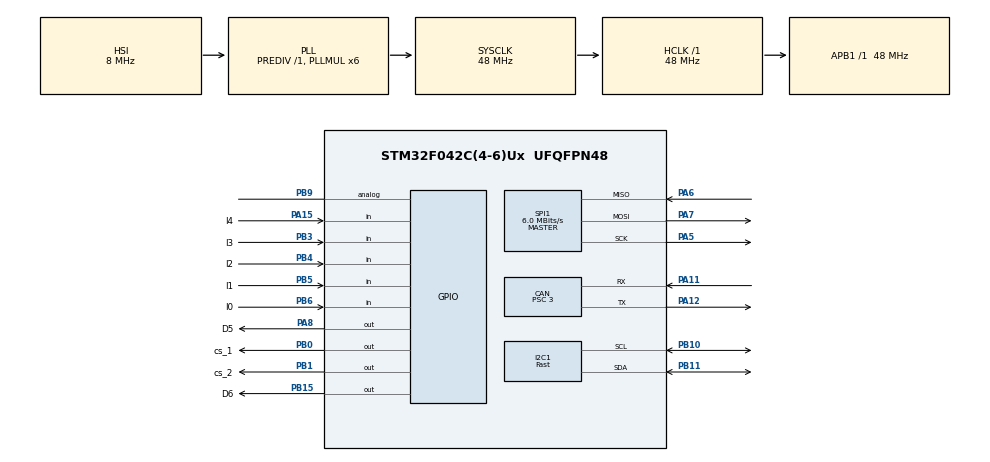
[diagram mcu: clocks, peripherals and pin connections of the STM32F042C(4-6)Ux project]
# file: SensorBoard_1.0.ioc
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CAN.BS1=CAN_BS1_16TQ
CAN.BS2=CAN_BS2_3TQ
CAN.CalculateTimeQuantum=62.5
CAN.NART=ENABLE
CAN.Prescaler=3
CAN.TXFP=ENABLE
I2C1.I2C_Speed_Mode=I2C_Fast
I2C1.Speed=400
I2C1.Timing=0x0000020B
Mcu.Family=STM32F0
Mcu.Name=STM32F042C(4-6)Ux
Mcu.Package=UFQFPN48
NVIC.TIM16_IRQn=true\:0\:0\:false\:false\:true\:true\:true
NVIC.TIM3_IRQn=true\:0\:0\:false\:false\:true\:true\:true
PA10.Signal=USART1_RX
PA11.Mode=Master
PA11.Signal=CAN_RX
PA12.Mode=Master
PA12.Signal=CAN_TX
PA13.Mode=Serial_Wire
PA13.Signal=SYS_SWDIO
PA14.Mode=Serial_Wire
PA14.Signal=SYS_SWCLK
PA15.GPIO_Label=I4
PA15.GPIO_PuPd=GPIO_PULLUP
PA15.Signal=GPIO_Input
PA5.GPIO_PuPd=GPIO_NOPULL
PA5.Mode=Full_Duplex_Master
PA5.Signal=SPI1_SCK
PA6.GPIO_PuPd=GPIO_NOPULL
PA6.Mode=Full_Duplex_Master
PA6.Signal=SPI1_MISO
PA7.GPIO_PuPd=GPIO_NOPULL
PA7.Mode=Full_Duplex_Master
PA7.Signal=SPI1_MOSI
PA8.GPIO_Label=D5
PA8.Signal=GPIO_Output
PA9.Signal=USART1_TX
PB0.GPIO_Label=cs_1
PB0.GPIO_PuPd=GPIO_PULLUP
PB0.GPIO_Speed=GPIO_SPEED_FREQ_HIGH
PB0.PinState=GPIO_PIN_SET
PB0.Signal=GPIO_Output
PB1.GPIO_Label=cs_2
PB1.GPIO_PuPd=GPIO_PULLUP
PB1.GPIO_Speed=GPIO_SPEED_FREQ_HIGH
PB1.PinState=GPIO_PIN_SET
PB1.Signal=GPIO_Output
PB10.Mode=I2C
PB10.Signal=I2C1_SCL
PB11.Mode=I2C
PB11.Signal=I2C1_SDA
PB15.GPIO_Label=D6
PB15.Signal=GPIO_Output
PB3.GPIO_Label=I3
PB3.GPIO_PuPd=GPIO_PULLUP
PB3.Signal=GPIO_Input
PB4.GPIO_Label=I2
PB4.GPIO_PuPd=GPIO_PULLUP
PB4.Signal=GPIO_Input
PB5.GPIO_Label=I1
PB5.GPIO_PuPd=GPIO_PULLUP
PB5.Signal=GPIO_Input
PB6.GPIO_Label=I0
PB6.GPIO_PuPd=GPIO_PULLUP
PB6.Signal=GPIO_Input
PB9.Signal=GPIO_Analog
PF0-OSC_IN.Mode=HSE-External-Oscillator
PF0-OSC_IN.Signal=RCC_OSC_IN
PF1-OSC_OUT.Mode=HSE-External-Oscillator
PF1-OSC_OUT.Signal=RCC_OSC_OUT
ProjectManager.HeapSize=0x200
ProjectManager.StackSize=0x400
ProjectManager.TargetToolchain=STM32CubeIDE
RCC.AHBFreq_Value=48000000
RCC.APB1Freq_Value=48000000
RCC.APB1TimFreq_Value=48000000
RCC.HCLKFreq_Value=48000000
RCC.HSE_VALUE=16000000
RCC.PLLMUL=RCC_PLL_MUL6
RCC.SYSCLKFreq_VALUE=48000000
RCC.SYSCLKSource=RCC_SYSCLKSOURCE_PLLCLK
SPI1.BaudRatePrescaler=SPI_BAUDRATEPRESCALER_8
SPI1.CLKPhase=SPI_PHASE_2EDGE
SPI1.CLKPolarity=SPI_POLARITY_HIGH
SPI1.CalculateBaudRate=6.0 MBits/s
SPI1.DataSize=SPI_DATASIZE_8BIT
SPI1.Direction=SPI_DIRECTION_2LINES
SPI1.FirstBit=SPI_FIRSTBIT_MSB
SPI1.Mode=SPI_MODE_MASTER
SPI1.VirtualType=VM_MASTER
TIM16.Period=10
TIM16.Prescaler=47999
TIM2.ClockDivision=TIM_CLOCKDIVISION_DIV1
TIM2.Period=65000
TIM2.Prescaler=47
TIM3.Period=310
TIM3.Prescaler=47
VP_TIM16_VS_ClockSourceINT.Mode=Enable_Timer
VP_TIM2_VS_ClockSourceINT.Mode=Internal
VP_TIM3_VS_ClockSourceINT.Mode=Internal
board=custom

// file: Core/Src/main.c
/* USER CODE BEGIN Header */
/**
  ******************************************************************************
  * @file           : main.c
  * @brief          : Main program body
  ******************************************************************************
  * @attention
  *
  * <h2><center>&copy; Copyright (c) 2019 STMicroelectronics.
  * All rights reserved.</center></h2>
  *
  * This software component is licensed by ST under BSD 3-Clause license,
  * the "License"; You may not use this file except in compliance with the
  * License. You may obtain a copy of the License at:
  *                        opensource.org/licenses/BSD-3-Clause
  *
  ******************************************************************************
  */
/* USER CODE END Header */

#include "main.h"

/* USER CODE BEGIN Includes */
#include "hts221_reg.h"
#include "lps22hb_reg.h"
#include "l2g2is_reg.h"
#include "iis3dhhc_reg.h"

#include <string.h>
#include <stdio.h>

/* USER CODE END Includes */

/* USER CODE BEGIN PTD */
// Accelerometer
typedef union{
  int16_t i16bit[3];
  uint8_t u8bit[6];
} axis3bit16_t;

typedef union{
  int16_t i16bit;
  uint8_t u8bit[2];
} axis1bit16_t;

// Gyroscope
typedef union{
  int16_t out_x;
  uint8_t u8_x[2];
} my_data;

// Barometer
typedef union{
  int32_t i32bit;
  uint8_t u8bit[4];
} axis1bit32_t;

typedef struct{
  int16_t x;
  int16_t y;
}Giro_Off;

typedef struct {
  float x0;
  float y0;
  float x1;
  float y1;
} lin_t;
/* USER CODE END PTD */

/* USER CODE BEGIN PD */
#define T_VALUE			5        	//NUMERO DI VOLTE CHE VIENE PROVATA LA COMUNICAZIONE CON I SENSORI
#define NO_ERR 			0x00      	//NESSUN ERRORE
#define ACC_ERR 		0x01	 	//ERRORE MODULO ACCELLEROMETRO
#define GYR_ERR 		0x02	 	//ERRORE MODULO GIROSCOPIO
#define PRE_ERR 		0x04     	//ERRORE MODULO PRESSIONE
#define HUM_ERR 		0x08	 	//ERRORE MODULO UMIDITA'
#define FIR_P 			0x00000000 	//MASCHERA PER PRIMO PACCHETTO
#define SEC_P 			0x00000100 	//MASCHERA PER SECONDO PACCHETTO
#define THI_P 			0x00000300 	//MASCHERA PER TERZO PACCHETTO
#define STD_MODE 		1		 	//MODALITA' STANDARD
#define STR_MODE 		0       	//MODALITA' AVVIO E FINE

#define CS_up_GPIO_Port GPIOB
#define CS_ACC			cs_1_Pin
#define CS_GIR			cs_2_Pin
#define TX_BUF_DIM      1000
#define START_SAMPLE 	2
/* USER CODE END PD */

CAN_HandleTypeDef hcan;

I2C_HandleTypeDef hi2c1;

SPI_HandleTypeDef hspi1;

TIM_HandleTypeDef htim2;
TIM_HandleTypeDef htim3;
TIM_HandleTypeDef htim16;

/* USER CODE BEGIN PV */
uint8_t timeStart;
uint8_t Err=0;

// Accelerometer
static axis3bit16_t data_raw_acceleration;
//static axis1bit16_t data_raw_temperature;
//static float temperature_degC;
float temperature_raw;
static uint8_t whoamI, rst;

// Gyroscope
static axis3bit16_t data_raw_angular_rate;
static axis1bit16_t data_raw_temperature;
static l2g2is_dev_status_t reg_gir;
l2g2is_off_t setOffset;

// Barometer
static axis1bit32_t data_raw_pressure;
static axis1bit16_t data_raw_temperature;

// Humidity
static axis1bit16_t data_raw_humidity;

// Control bus
//static uint8_t tx_buffer[TX_BUF_DIM];
struct{
	int16_t Acc_x;
	int16_t Acc_y;
	int16_t Acc_z;
	int16_t Gyr_x;
	int16_t Gyr_y;
	int16_t T_a;
	int16_t T_g;
	int16_t T_b;
	uint32_t Pres;
	uint16_t Hum;
	uint16_t Responce_Time_millis;
}Data[2];

uint8_t ID=0;				// ID BOARD
uint8_t IDF=0;				// ID Fake per schedulare invio pacchetti nel tempo
uint8_t flagStartData=0;	// serve ad abilitare la trasmissione dei dati non importanti
							// come la pressione e l'umidità che saranno letti solo all'inizio e alla fine
uint8_t flagStartAcc=0;		// permette di leggere prima i dati e poi inviarli
uint8_t a=0;
uint8_t read[2];
uint32_t timer;

// CAN
CAN_TxHeaderTypeDef TxHeader;
uint8_t TxData0[8];
uint32_t TxMailbox;
CAN_FilterTypeDef sFilterConfig;

// Accelerometer
stmdev_ctx_t dev_ctx_acc;
iis3dhhc_reg_t reg_acc;

// Gyroscope
stmdev_ctx_t dev_ctx_gir;

// Humidity
stmdev_ctx_t dev_ctx_hum;
hts221_reg_t reg_hum;

// Barometer
stmdev_ctx_t dev_ctx_bar;
uint8_t reg_bar;
uint8_t rst_bar;

uint16_t humidity_perc;
lin_t lin_hum;
lin_t lin_temp;
/* USER CODE END PV */

void SystemClock_Config(void);
static void MX_GPIO_Init(void);
static void MX_I2C1_Init(void);
static void MX_SPI1_Init(void);
static void MX_TIM2_Init(void);
static void MX_TIM3_Init(void);
static void MX_CAN_Init(void);
static void MX_TIM16_Init(void);

/* USER CODE BEGIN 0 */
static int32_t accelerometer_write(void *handle, uint8_t reg, uint8_t *bufp, uint16_t len);
static int32_t accelerometer_read(void *handle, uint8_t reg, uint8_t *bufp, uint16_t len);
static int32_t gyroscope_write(void *handle, uint8_t reg, uint8_t *bufp, uint16_t len);
static int32_t gyroscope_read(void *handle, uint8_t reg, uint8_t *bufp, uint16_t len);
static int32_t barometer_write(void *handle, uint8_t reg, uint8_t *bufp, uint16_t len);
static int32_t barometer_read(void *handle, uint8_t reg, uint8_t *bufp, uint16_t len);
static int32_t humidity_write(void *handle, uint8_t reg, uint8_t *bufp, uint16_t len);
static int32_t humidity_read(void *handle, uint8_t reg, uint8_t *bufp, uint16_t len);
void get_data(void);
uint8_t make_giro_offset(stmdev_ctx_t *ctx,Giro_Off *giro);
void CAN_Config(void);

float linear_interpolation(lin_t *lin, int16_t x)
{
 return ((lin->y1 - lin->y0) * x +  ((lin->x1 * lin->y0) - (lin->x0 * lin->y1)))
        / (lin->x1 - lin->x0);
}
/* USER CODE END 0 */

int main(void)
{
  /* USER CODE BEGIN 1 */
	/*Check device ID*/

  /* USER CODE END 1 */

  /* MCU Configuration--------------------------------------------------------*/

  /* Reset of all peripherals, Initializes the Flash interface and the Systick. */
  HAL_Init();

  /* Configure the system clock */
  SystemClock_Config();

  /* Initialize all configured peripherals */
  MX_GPIO_Init();
  MX_I2C1_Init();
  MX_SPI1_Init();
  MX_TIM2_Init();
  MX_TIM3_Init();
  MX_CAN_Init();
  MX_TIM16_Init();
  /* USER CODE BEGIN 2 */
  CAN_Config();
  HAL_CAN_Start(&hcan);

  HAL_Delay(100);

	//RICONOSCIMENTO ID TRAMITE PONTICELLO
	if(HAL_GPIO_ReadPin(GPIOB,I0_Pin)){ID=ID|0x01;}
	if(HAL_GPIO_ReadPin(GPIOB,I1_Pin)){ID=ID|0x02;}
	if(HAL_GPIO_ReadPin(GPIOB,I2_Pin)){ID=ID|0x04;}
	if(HAL_GPIO_ReadPin(GPIOB,I3_Pin)){ID=ID|0x08;}
	if(HAL_GPIO_ReadPin(GPIOA,I4_Pin)){ID=ID|0x10;}
	//OGNI ID VIENE TRASFORMATO IN UN RANGE DA 0 A 9 E SERVIRA' PER TEMPORIZARE L'INVIO
	if(ID>9)IDF=ID-10;
	if(ID>19)IDF=ID-20;
	ID=0;
	//htim1.Init.Period = 1200+IDF*350;
	//htim1.Init.Period=200;
	//TRASMISSIONE SPI DISABILITATA
	HAL_GPIO_WritePin(GPIOB, cs_1_Pin, GPIO_PIN_SET);
	HAL_GPIO_WritePin(GPIOB, cs_2_Pin, GPIO_PIN_SET);
	HAL_Delay(1);

	//DEFINIZIONE DEI DEVICE
	// Accelerometer
	dev_ctx_acc.write_reg = accelerometer_write;
	dev_ctx_acc.read_reg = accelerometer_read;
	dev_ctx_acc.handle = &hspi1;
	// Gyroscope
	dev_ctx_gir.write_reg = gyroscope_write;
	dev_ctx_gir.read_reg = gyroscope_read;
	dev_ctx_gir.handle = &hspi1;
	// Humidity
	dev_ctx_hum.write_reg = humidity_write;
	dev_ctx_hum.read_reg = humidity_read;
	dev_ctx_hum.handle = &hi2c1;
	// Barometer
	dev_ctx_bar.write_reg = barometer_write;
	dev_ctx_bar.read_reg = barometer_read;
	dev_ctx_bar.handle = &hi2c1;

	//INIZIALIZZAZIONE ACCELEROMETRO E VERIFICA DELLA CONNESSIONE AL BUS
	whoamI = 0;
	timeStart=STR_MODE;//ATTIVO START PACCHETTI PRESSIONE E UMIDITA'
	iis3dhhc_device_id_get(&dev_ctx_acc, &whoamI);
	while(timeStart>T_VALUE){// CONTROLLO SE E' POSSIBILE LA COMUNICAZIONE CON IL SENSORE
		if(whoamI != IIS3DHHC_ID){
			break;
		}
	}
    if(timeStart>T_VALUE){
    	Err=Err|ACC_ERR;
    }
	iis3dhhc_reset_set(&dev_ctx_acc, PROPERTY_ENABLE);//RIPRISTINO SETTAGGI DEFAULT
	do{
	  iis3dhhc_reset_get(&dev_ctx_acc, &rst);
	}while (rst);
	iis3dhhc_block_data_update_set(&dev_ctx_acc, PROPERTY_ENABLE);//ABLITAZIONE DATAUPDATE
	iis3dhhc_data_rate_set(&dev_ctx_acc, IIS3DHHC_1kHz1);//SETTAGGIO FREQUENZA DI CAMPIONAMENTO
	iis3dhhc_filter_config_set(&dev_ctx_acc,3);//SETTAGGIO FILTRO FFR A 235HZ
	iis3dhhc_offset_temp_comp_set(&dev_ctx_acc, PROPERTY_ENABLE);//ABLITIAZIONE COMPENSAZIONE TEMPERATURA
	/*uint8_t speed= 0x01;
	uint8_t add=0x24|0x80;
	HAL_GPIO_WritePin(CS_up_GPIO_Port, CS_ACC, GPIO_PIN_RESET);
	HAL_SPI_Transmit(&hspi1, &add, 1, 10);
	if(HAL_SPI_Receive(&hspi1, &read[0], 1, 10)==HAL_OK)a=1;
	HAL_GPIO_WritePin(CS_up_GPIO_Port, CS_ACC, GPIO_PIN_SET);
	add=0x24;
	HAL_GPIO_WritePin(CS_up_GPIO_Port, CS_ACC, GPIO_PIN_RESET);
	HAL_SPI_Transmit(&hspi1, &add, 1, 10);
	HAL_SPI_Transmit(&hspi1, &speed, 1, 10);
	HAL_GPIO_WritePin(CS_up_GPIO_Port, CS_ACC, GPIO_PIN_SET);
	add=0x24|0x80;
	HAL_GPIO_WritePin(CS_up_GPIO_Port, CS_ACC, GPIO_PIN_RESET);
	HAL_SPI_Transmit(&hspi1, &add, 1, 10);
	if(HAL_SPI_Receive(&hspi1, &read[1], 1, 10)==HAL_OK)a=1;
	HAL_GPIO_WritePin(CS_up_GPIO_Port, CS_ACC, GPIO_PIN_SET);*/

	// INIZIALIZZAZIONE GIROSCOPIO E VERIFICA DELLA CONNESSIONE AL BUS
	timeStart=0;
	l2g2is_dev_id_get(&dev_ctx_gir, &whoamI);
	while(timeStart>T_VALUE){
		if(whoamI == L2G2IS_ID){							// CONTROLLO SE E' POSSIBILE LA COMUNICAZIONE CON IL SENSORE
			break;
		}
	}
	if(timeStart>T_VALUE){
	    Err=Err|GYR_ERR;
	}
	l2g2is_dev_reset_set(&dev_ctx_gir, PROPERTY_ENABLE);	// RIPRISTINO SETTAGGI DEFAULT
	do{
		l2g2is_dev_reset_get(&dev_ctx_gir, &rst);
	}while (rst);
	l2g2is_gy_full_scale_set(&dev_ctx_gir, L2G2IS_200dps);	// SETTAGGIO SCALA DI MISURA -200DPS +200DPS
    //l2g2is_gy_filter_lp_bandwidth_set(&dev_ctx, L2G2IS_LPF_BW_160Hz);//SETTAGGIO FILTRO PASSA BASSO
	//l2g2is_gy_filter_hp_bandwidth_set(&dev_ctx, L2G2IS_HPF_BYPASS);//SETTAGGIO FILTRO PASSA ALTO
	setOffset.offx = 0x00;		//SETTAGGIO OFFSET ASSE X
	setOffset.offy = 0x00;		// SETTAGGIO OFFSET ASSE Y
	l2g2is_angular_rate_offset_set(&dev_ctx_gir, setOffset);//SETTAGGIO OFFSET ANGULAR RATE
	l2g2is_gy_data_rate_set(&dev_ctx_gir, L2G2IS_GY_9k33Hz);//SETTAGGIO FREQUENZA DI CAMPIONAMENTO DEL SENSORE
    //Data.Responce_Time_millis=make_giro_offset(&dev_ctx_gir,&giro); OFFSET NON FUNZIONANTE

	// INIZIALIZZAZIONE BAROMETRO E VERIFICA DELLA CONNESSIONE AL BUS
	whoamI=0;
	timeStart=0;
	lps22hb_device_id_get(&dev_ctx_bar,&whoamI);
    while(timeStart>T_VALUE){
		if( whoamI == LPS22HB_ID ){					// CONTROLLO SE E' POSSIBILE LA COMUNICAZIONE CON IL SENSORE
			break;
		}
	}
	if(timeStart>T_VALUE){
		Err=Err|PRE_ERR;
	}
	lps22hb_reset_set(&dev_ctx_bar, PROPERTY_ENABLE);// RIPRISTINO SETTAGGI DEFAULT
	do{
		lps22hb_reset_get(&dev_ctx_bar, &rst_bar);
	} while(rst_bar);
	//lps22hb_block_data_update_set(&dev_ctx, PROPERTY_ENABLE);//ABLITAZIONE DATAUPDATE
	lps22hb_low_pass_filter_mode_set(&dev_ctx_bar, LPS22HB_LPF_ODR_DIV_2);//SETTAGGIO LOW PASS FILTER
	//lps22hb_drdy_on_int_set(&dev_ctx, PROPERTY_ENABLE);//INTERRUPT FOR DATA READY INT_DRDY
	lps22hb_data_rate_set(&dev_ctx_bar, LPS22HB_ODR_10_Hz);//SETTAGGIO FREQUENZA DI CAMPIONAMENTO DEL SENSORE

	// INIZIALIZZAZIONE SENSORE DI UMIDITA' E VERIFICA DELLA CONNESSIONE AL BUS
	whoamI = 0;
	timeStart=0;
	hts221_device_id_get(&dev_ctx_hum, &whoamI);
	while(timeStart>T_VALUE){
		if ( whoamI == HTS221_ID ){		// CONTROLLO SE E' POSSIBILE LA COMUNICAZIONE CON IL SENSORE
			break;
		}
	}
	if(timeStart>T_VALUE){
		Err=Err|HUM_ERR;
	}

	// Humidity sensor calibration coefficient
	axis1bit16_t coeff;
	hts221_hum_adc_point_0_get(&dev_ctx_hum, coeff.u8bit);
	lin_hum.x0 = (float)coeff.i16bit;
	hts221_hum_rh_point_0_get(&dev_ctx_hum, coeff.u8bit);
	lin_hum.y0 = (float)coeff.u8bit[0];
	hts221_hum_adc_point_1_get(&dev_ctx_hum, coeff.u8bit);
	lin_hum.x1 = (float)coeff.i16bit;
	hts221_hum_rh_point_1_get(&dev_ctx_hum, coeff.u8bit);
	lin_hum.y1 = (float)coeff.u8bit[0];

	/* Read temperature calibration coefficient */
	/*
	hts221_temp_adc_point_0_get(&dev_ctx_hum, coeff.u8bit);
	lin_temp.x0 = (float)coeff.i16bit;
	hts221_temp_deg_point_0_get(&dev_ctx_hum, coeff.u8bit);
	lin_temp.y0 = (float)coeff.u8bit[0];
	hts221_temp_adc_point_1_get(&dev_ctx_hum, coeff.u8bit);
	lin_temp.x1 = (float)coeff.i16bit;
	hts221_temp_deg_point_1_get(&dev_ctx_hum, coeff.u8bit);
	lin_temp.y1 = (float)coeff.u8bit[0];*/

	hts221_block_data_update_set(&dev_ctx_hum, PROPERTY_ENABLE);	//ABLITAZIONE DATAUPDATE
	hts221_data_rate_set(&dev_ctx_hum, HTS221_ODR_1Hz);				//SETTAGGIO DATARATE
	hts221_power_on_set(&dev_ctx_hum, PROPERTY_ENABLE);				//ACCENSIONE INVIO DATI DISPOSITIVO

	//HAL_TIM_Base_Start_IT(&htim2);
	HAL_TIM_Base_Start_IT(&htim3);									//AVVIO DEL TIMER 3 E CONSEGUENTE AVVIO DEL PROGRAMMA
	HAL_TIM_Base_Start_IT(&htim16);									//AVVIO DEL TIMER 16 PER INVIO DATI PRESSIONE E UMIDITA'
	//int i=0;
  /* USER CODE END 2 */

  /* Infinite loop */
  while (1)
  {

  }
}

void SystemClock_Config(void)
{
  RCC_OscInitTypeDef RCC_OscInitStruct = {0};
  RCC_ClkInitTypeDef RCC_ClkInitStruct = {0};
  RCC_PeriphCLKInitTypeDef PeriphClkInit = {0};

  /** Initializes the CPU, AHB and APB busses clocks
  */
  RCC_OscInitStruct.OscillatorType = RCC_OSCILLATORTYPE_HSI;
  RCC_OscInitStruct.HSIState = RCC_HSI_ON;
  RCC_OscInitStruct.HSICalibrationValue = RCC_HSICALIBRATION_DEFAULT;
  RCC_OscInitStruct.PLL.PLLState = RCC_PLL_ON;
  RCC_OscInitStruct.PLL.PLLSource = RCC_PLLSOURCE_HSI;
  RCC_OscInitStruct.PLL.PLLMUL = RCC_PLL_MUL6;
  RCC_OscInitStruct.PLL.PREDIV = RCC_PREDIV_DIV1;
  if (HAL_RCC_OscConfig(&RCC_OscInitStruct) != HAL_OK)
  {
    Error_Handler();
  }
  /** Initializes the CPU, AHB and APB busses clocks
  */
  RCC_ClkInitStruct.ClockType = RCC_CLOCKTYPE_HCLK|RCC_CLOCKTYPE_SYSCLK
                              |RCC_CLOCKTYPE_PCLK1;
  RCC_ClkInitStruct.SYSCLKSource = RCC_SYSCLKSOURCE_PLLCLK;
  RCC_ClkInitStruct.AHBCLKDivider = RCC_SYSCLK_DIV1;
  RCC_ClkInitStruct.APB1CLKDivider = RCC_HCLK_DIV1;

  if (HAL_RCC_ClockConfig(&RCC_ClkInitStruct, FLASH_LATENCY_1) != HAL_OK)
  {
    Error_Handler();
  }
  PeriphClkInit.PeriphClockSelection = RCC_PERIPHCLK_I2C1;
  PeriphClkInit.I2c1ClockSelection = RCC_I2C1CLKSOURCE_HSI;
  if (HAL_RCCEx_PeriphCLKConfig(&PeriphClkInit) != HAL_OK)
  {
    Error_Handler();
  }
}

static void MX_CAN_Init(void)
{

  hcan.Instance = CAN;
  hcan.Init.Prescaler = 3;
  hcan.Init.Mode = CAN_MODE_NORMAL;
  hcan.Init.SyncJumpWidth = CAN_SJW_1TQ;
  hcan.Init.TimeSeg1 = CAN_BS1_16TQ;
  hcan.Init.TimeSeg2 = CAN_BS2_3TQ;
  hcan.Init.TimeTriggeredMode = DISABLE;
  hcan.Init.AutoBusOff = DISABLE;
  hcan.Init.AutoWakeUp = DISABLE;
  hcan.Init.AutoRetransmission = ENABLE;
  hcan.Init.ReceiveFifoLocked = DISABLE;
  hcan.Init.TransmitFifoPriority = ENABLE;
  if (HAL_CAN_Init(&hcan) != HAL_OK)
  {
    Error_Handler();
  }

}

static void MX_I2C1_Init(void)
{

  hi2c1.Instance = I2C1;
  hi2c1.Init.Timing = 0x0000020B;
  hi2c1.Init.OwnAddress1 = 0;
  hi2c1.Init.AddressingMode = I2C_ADDRESSINGMODE_7BIT;
  hi2c1.Init.DualAddressMode = I2C_DUALADDRESS_DISABLE;
  hi2c1.Init.OwnAddress2 = 0;
  hi2c1.Init.OwnAddress2Masks = I2C_OA2_NOMASK;
  hi2c1.Init.GeneralCallMode = I2C_GENERALCALL_DISABLE;
  hi2c1.Init.NoStretchMode = I2C_NOSTRETCH_DISABLE;
  if (HAL_I2C_Init(&hi2c1) != HAL_OK)
  {
    Error_Handler();
  }
  /** Configure Analogue filter
  */
  if (HAL_I2CEx_ConfigAnalogFilter(&hi2c1, I2C_ANALOGFILTER_ENABLE) != HAL_OK)
  {
    Error_Handler();
  }
  /** Configure Digital filter
  */
  if (HAL_I2CEx_ConfigDigitalFilter(&hi2c1, 0) != HAL_OK)
  {
    Error_Handler();
  }

}

static void MX_SPI1_Init(void)
{

  /* SPI1 parameter configuration*/
  hspi1.Instance = SPI1;
  hspi1.Init.Mode = SPI_MODE_MASTER;
  hspi1.Init.Direction = SPI_DIRECTION_2LINES;
  hspi1.Init.DataSize = SPI_DATASIZE_8BIT;
  hspi1.Init.CLKPolarity = SPI_POLARITY_HIGH;
  hspi1.Init.CLKPhase = SPI_PHASE_2EDGE;
  hspi1.Init.NSS = SPI_NSS_SOFT;
  hspi1.Init.BaudRatePrescaler = SPI_BAUDRATEPRESCALER_8;
  hspi1.Init.FirstBit = SPI_FIRSTBIT_MSB;
  hspi1.Init.TIMode = SPI_TIMODE_DISABLE;
  hspi1.Init.CRCCalculation = SPI_CRCCALCULATION_DISABLE;
  hspi1.Init.CRCPolynomial = 7;
  hspi1.Init.CRCLength = SPI_CRC_LENGTH_DATASIZE;
  hspi1.Init.NSSPMode = SPI_NSS_PULSE_DISABLE;
  if (HAL_SPI_Init(&hspi1) != HAL_OK)
  {
    Error_Handler();
  }

}

static void MX_TIM2_Init(void)
{

  TIM_ClockConfigTypeDef sClockSourceConfig = {0};
  TIM_MasterConfigTypeDef sMasterConfig = {0};

  htim2.Instance = TIM2;
  htim2.Init.Prescaler = 47;
  htim2.Init.CounterMode = TIM_COUNTERMODE_UP;
  htim2.Init.Period = 65000;
  htim2.Init.ClockDivision = TIM_CLOCKDIVISION_DIV1;
  htim2.Init.AutoReloadPreload = TIM_AUTORELOAD_PRELOAD_DISABLE;
  if (HAL_TIM_Base_Init(&htim2) != HAL_OK)
  {
    Error_Handler();
  }
  sClockSourceConfig.ClockSource = TIM_CLOCKSOURCE_INTERNAL;
  if (HAL_TIM_ConfigClockSource(&htim2, &sClockSourceConfig) != HAL_OK)
  {
    Error_Handler();
  }
  sMasterConfig.MasterOutputTrigger = TIM_TRGO_RESET;
  sMasterConfig.MasterSlaveMode = TIM_MASTERSLAVEMODE_DISABLE;
  if (HAL_TIMEx_MasterConfigSynchronization(&htim2, &sMasterConfig) != HAL_OK)
  {
    Error_Handler();
  }

}

static void MX_TIM3_Init(void)
{

  TIM_ClockConfigTypeDef sClockSourceConfig = {0};
  TIM_MasterConfigTypeDef sMasterConfig = {0};

  htim3.Instance = TIM3;
  htim3.Init.Prescaler = 47;
  htim3.Init.CounterMode = TIM_COUNTERMODE_UP;
  htim3.Init.Period = 310;
  htim3.Init.ClockDivision = TIM_CLOCKDIVISION_DIV1;
  htim3.Init.AutoReloadPreload = TIM_AUTORELOAD_PRELOAD_DISABLE;
  if (HAL_TIM_Base_Init(&htim3) != HAL_OK)
  {
    Error_Handler();
  }
  sClockSourceConfig.ClockSource = TIM_CLOCKSOURCE_INTERNAL;
  if (HAL_TIM_ConfigClockSource(&htim3, &sClockSourceConfig) != HAL_OK)
  {
    Error_Handler();
  }
  sMasterConfig.MasterOutputTrigger = TIM_TRGO_RESET;
  sMasterConfig.MasterSlaveMode = TIM_MASTERSLAVEMODE_DISABLE;
  if (HAL_TIMEx_MasterConfigSynchronization(&htim3, &sMasterConfig) != HAL_OK)
  {
    Error_Handler();
  }

}

static void MX_TIM16_Init(void)
{

  htim16.Instance = TIM16;
  htim16.Init.Prescaler = 47999;
  htim16.Init.CounterMode = TIM_COUNTERMODE_UP;
  htim16.Init.Period = 10;
  htim16.Init.ClockDivision = TIM_CLOCKDIVISION_DIV1;
  htim16.Init.RepetitionCounter = 0;
  htim16.Init.AutoReloadPreload = TIM_AUTORELOAD_PRELOAD_DISABLE;
  if (HAL_TIM_Base_Init(&htim16) != HAL_OK)
  {
    Error_Handler();
  }

}

static void MX_GPIO_Init(void)
{
  GPIO_InitTypeDef GPIO_InitStruct = {0};

  /* GPIO Ports Clock Enable */
  __HAL_RCC_GPIOF_CLK_ENABLE();
  __HAL_RCC_GPIOA_CLK_ENABLE();
  __HAL_RCC_GPIOB_CLK_ENABLE();

  /*Configure GPIO pin Output Level */
  HAL_GPIO_WritePin(GPIOB, cs_1_Pin|cs_2_Pin, GPIO_PIN_SET);

  /*Configure GPIO pin Output Level */
  HAL_GPIO_WritePin(D6_GPIO_Port, D6_Pin, GPIO_PIN_RESET);

  /*Configure GPIO pin Output Level */
  HAL_GPIO_WritePin(D5_GPIO_Port, D5_Pin, GPIO_PIN_RESET);

  /*Configure GPIO pins : cs_1_Pin cs_2_Pin */
  GPIO_InitStruct.Pin = cs_1_Pin|cs_2_Pin;
  GPIO_InitStruct.Mode = GPIO_MODE_OUTPUT_PP;
  GPIO_InitStruct.Pull = GPIO_PULLUP;
  GPIO_InitStruct.Speed = GPIO_SPEED_FREQ_HIGH;
  HAL_GPIO_Init(GPIOB, &GPIO_InitStruct);

  /*Configure GPIO pin : D6_Pin */
  GPIO_InitStruct.Pin = D6_Pin;
  GPIO_InitStruct.Mode = GPIO_MODE_OUTPUT_PP;
  GPIO_InitStruct.Pull = GPIO_NOPULL;
  GPIO_InitStruct.Speed = GPIO_SPEED_FREQ_LOW;
  HAL_GPIO_Init(D6_GPIO_Port, &GPIO_InitStruct);

  /*Configure GPIO pin : D5_Pin */
  GPIO_InitStruct.Pin = D5_Pin;
  GPIO_InitStruct.Mode = GPIO_MODE_OUTPUT_PP;
  GPIO_InitStruct.Pull = GPIO_NOPULL;
  GPIO_InitStruct.Speed = GPIO_SPEED_FREQ_LOW;
  HAL_GPIO_Init(D5_GPIO_Port, &GPIO_InitStruct);

  /*Configure GPIO pins : PA9 PA10 */
  GPIO_InitStruct.Pin = GPIO_PIN_9|GPIO_PIN_10;
  GPIO_InitStruct.Mode = GPIO_MODE_AF_PP;
  GPIO_InitStruct.Pull = GPIO_NOPULL;
  GPIO_InitStruct.Speed = GPIO_SPEED_FREQ_HIGH;
  GPIO_InitStruct.Alternate = GPIO_AF1_USART1;
  HAL_GPIO_Init(GPIOA, &GPIO_InitStruct);

  /*Configure GPIO pin : I4_Pin */
  GPIO_InitStruct.Pin = I4_Pin;
  GPIO_InitStruct.Mode = GPIO_MODE_INPUT;
  GPIO_InitStruct.Pull = GPIO_PULLUP;
  HAL_GPIO_Init(I4_GPIO_Port, &GPIO_InitStruct);

  /*Configure GPIO pins : I3_Pin I2_Pin I1_Pin I0_Pin */
  GPIO_InitStruct.Pin = I3_Pin|I2_Pin|I1_Pin|I0_Pin;
  GPIO_InitStruct.Mode = GPIO_MODE_INPUT;
  GPIO_InitStruct.Pull = GPIO_PULLUP;
  HAL_GPIO_Init(GPIOB, &GPIO_InitStruct);

  /*Configure GPIO pin : PB9 */
  GPIO_InitStruct.Pin = GPIO_PIN_9;
  GPIO_InitStruct.Mode = GPIO_MODE_ANALOG;
  GPIO_InitStruct.Pull = GPIO_NOPULL;
  HAL_GPIO_Init(GPIOB, &GPIO_InitStruct);

}

/* USER CODE BEGIN 4 */
static int32_t accelerometer_write(void *handle, uint8_t reg, uint8_t *bufp, uint16_t len){
	HAL_GPIO_WritePin(CS_up_GPIO_Port, CS_ACC, GPIO_PIN_RESET);
	HAL_SPI_Transmit(handle, &reg, 1, 10);
	HAL_SPI_Transmit(handle, bufp, len, 10);
	HAL_GPIO_WritePin(CS_up_GPIO_Port, CS_ACC, GPIO_PIN_SET);
	return 0;
}

static int32_t accelerometer_read(void *handle, uint8_t reg, uint8_t *bufp, uint16_t len){
	/* Read command */
	reg |= 0x80;
    HAL_GPIO_WritePin(CS_up_GPIO_Port, CS_ACC, GPIO_PIN_RESET);
    HAL_SPI_Transmit(handle, &reg, 1, 10);
    HAL_SPI_Receive(handle, bufp, len, 10);
    HAL_GPIO_WritePin(CS_up_GPIO_Port, CS_ACC, GPIO_PIN_SET);
    return 0;
}

static int32_t gyroscope_write(void *handle, uint8_t reg, uint8_t *bufp, uint16_t len){
	if(len>1) reg |= 0x40;
	HAL_GPIO_WritePin(CS_up_GPIO_Port, CS_GIR, GPIO_PIN_RESET);
	HAL_SPI_Transmit(handle, &reg, 1, 10);
	HAL_SPI_Transmit(handle, bufp, len, 10);
	HAL_GPIO_WritePin(CS_up_GPIO_Port, CS_GIR, GPIO_PIN_SET);
	return 0;
}

static int32_t gyroscope_read(void *handle, uint8_t reg, uint8_t *bufp, uint16_t len){
	/* Read command */
	reg |= 0x80;
	if(len>1) reg |= 0xC0;
    HAL_GPIO_WritePin(CS_up_GPIO_Port, CS_GIR, GPIO_PIN_RESET);
    HAL_SPI_Transmit(handle, &reg, 1, 10);
    HAL_SPI_Receive(handle, bufp, len, 10);
    HAL_GPIO_WritePin(CS_up_GPIO_Port, CS_GIR, GPIO_PIN_SET);
    return 0;
}

static int32_t barometer_write(void *handle, uint8_t reg, uint8_t *bufp, uint16_t len){
  if (handle == &hi2c1){
    HAL_I2C_Mem_Write(handle, LPS22HB_I2C_ADD_H, reg, I2C_MEMADD_SIZE_8BIT, bufp, len, 100);
  }
  return 0;
}

static int32_t barometer_read(void *handle, uint8_t reg, uint8_t *bufp, uint16_t len){
  if (handle == &hi2c1){
    HAL_I2C_Mem_Read(handle, LPS22HB_I2C_ADD_H, reg, I2C_MEMADD_SIZE_8BIT, bufp, len, 100);
  }
  return 0;
}

static int32_t humidity_write(void *handle, uint8_t reg, uint8_t *bufp, uint16_t len){
  if (handle == &hi2c1){
    /* Write multiple command */
    reg |= 0x80;
    HAL_I2C_Mem_Write(handle, HTS221_I2C_ADDRESS, reg, I2C_MEMADD_SIZE_8BIT, bufp, len, 100);
  }
  return 0;
}

static int32_t humidity_read(void *handle, uint8_t reg, uint8_t *bufp, uint16_t len){
  if (handle == &hi2c1){
    /* Read multiple command */
    reg |= 0x80;
    HAL_I2C_Mem_Read(handle, HTS221_I2C_ADDRESS, reg, I2C_MEMADD_SIZE_8BIT, bufp, len, 100);
  }
  return 0;
}

uint8_t make_giro_offset(stmdev_ctx_t *ctx,Giro_Off *giro){
	l2g2is_dev_status_t reg_gir;

	l2g2is_dev_status_get(ctx, &reg_gir);
	for(int i=0;i<16;i++){
		if(reg_gir.xyda){
			/* Read gyro data */
			memset(data_raw_angular_rate.u8bit, 0x00, 2 * sizeof(int16_t));

			l2g2is_angular_rate_raw_get(ctx, data_raw_angular_rate.u8bit);

			giro->x=data_raw_angular_rate.i16bit[0]+giro->x;
			giro->y=data_raw_angular_rate.i16bit[1]+giro->y;
			HAL_Delay(1);
		}
		else return 1;
	}
	giro->x=giro->x/16;
	giro->y=giro->y/16;
	return 0;
}

void HAL_TIM_PeriodElapsedCallback(TIM_HandleTypeDef *htim)
{
    if (htim->Instance==TIM16){ 		// check if the interrupt comes from TIM16
    	HAL_TIM_Base_Stop_IT(&htim16);
    	flagStartData = STD_MODE;
	}
    if (htim->Instance==TIM3){ 			// check if the interrupt comes from TIM3
		TIM1->CNT=0;
		if(ID>10){
			ID=0;
			timer++;
		}

		ID++;
		TxHeader.StdId = (ID)|FIR_P;
		TxData0[0]=(int8_t)(timer  & 0x000000FF);
		TxData0[1]=(int8_t)((timer & 0x0000FF00)>>8);
		TxData0[2]=(int8_t)((timer & 0x00FF0000)>>16);
		TxData0[3]=(int8_t)(Data[0].Gyr_x & 0x00FF);
		TxData0[4]=(int8_t)((Data[0].Gyr_x & 0xFF00 )>> 8);
		TxData0[5]=(int8_t)(Data[0].Gyr_y  & 0x00FF);
		TxData0[6]=(int8_t)((Data[0].Gyr_y & 0xFF00 )>> 8);
		TxData0[7]=Err;
		HAL_CAN_AddTxMessage(&hcan,&TxHeader,TxData0,&TxMailbox);// INVIO PRIMO MESSAGGIO

		TxHeader.StdId = (ID)|SEC_P;
		TxData0[0]=(int8_t)(Data[0].Acc_x & 0x00FF);
		TxData0[1]=(int8_t)((Data[0].Acc_x & 0xFF00 )>> 8);
		TxData0[2]=(int8_t)(Data[0].Acc_y & 0x00FF);
		TxData0[3]=(int8_t)((Data[0].Acc_y & 0xFF00 )>> 8);
		TxData0[4]=(int8_t)(Data[0].Acc_z & 0x00FF);
		TxData0[5]=(int8_t)((Data[0].Acc_z & 0xFF00 )>> 8);
		TxData0[6]=(int8_t)(Data[0].T_b & 0x00FF);
		TxData0[7]=(int8_t)((Data[0].T_b & 0xFF00 )>> 8);
		HAL_CAN_AddTxMessage(&hcan,&TxHeader,TxData0,&TxMailbox);// INVIO SECONDO MESSAGGIO

		//get_data();
	}
    if (htim->Instance==TIM1){
    	//HAL_TIM_Base_Stop_IT(&htim1);// check if the interrupt comes from TIM1
    	//HAL_GPIO_WritePin(D6_GPIO_Port, D6_Pin, GPIO_PIN_SET);
    	//timer++;						// TIMER INVIO PACCHETTI TICKER
    	//Data[0].Responce_Time_millis=TIM2->CNT;
    	/*
    	 * ID definition
    	 *    ---- If 1 third packet
    	 *   |  -- If 1 second packet
    	 *   | |       ID
    	 *   | | _______________
    	 * -|-|-|x|x|x|x|x|x|x|x|
    	 *   9 8 7 6 5 4 3 2 1 0
    	 */
    	switch (flagStartData){
			case STD_MODE:
			{
				//HAL_TIM_Base_Stop(&htim1);
				TxHeader.StdId = (ID)|FIR_P;
				TxData0[0]=(int8_t)(timer  & 0x000000FF);
				TxData0[1]=(int8_t)((timer & 0x0000FF00)>>8);
				TxData0[2]=(int8_t)((timer & 0x00FF0000)>>16);
				TxData0[3]=(int8_t)(Data[0].Gyr_x & 0x00FF);
				TxData0[4]=(int8_t)((Data[0].Gyr_x & 0xFF00 )>> 8);
				TxData0[5]=(int8_t)(Data[0].Gyr_y  & 0x00FF);
				TxData0[6]=(int8_t)((Data[0].Gyr_y & 0xFF00 )>> 8);
				TxData0[7]=Err;
				HAL_CAN_AddTxMessage(&hcan,&TxHeader,TxData0,&TxMailbox);// INVIO PRIMO MESSAGGIO

				TxHeader.StdId = (ID)|SEC_P;
				TxData0[0]=(int8_t)(Data[0].Acc_x & 0x00FF);
				TxData0[1]=(int8_t)((Data[0].Acc_x & 0xFF00 )>> 8);
				TxData0[2]=(int8_t)(Data[0].Acc_y & 0x00FF);
				TxData0[3]=(int8_t)((Data[0].Acc_y & 0xFF00 )>> 8);
				TxData0[4]=(int8_t)(Data[0].Acc_z & 0x00FF);
				TxData0[5]=(int8_t)((Data[0].Acc_z & 0xFF00 )>> 8);
				TxData0[6]=(int8_t)(Data[0].T_b & 0x00FF);
				TxData0[7]=(int8_t)((Data[0].T_b & 0xFF00 )>> 8);
				HAL_CAN_AddTxMessage(&hcan,&TxHeader,TxData0,&TxMailbox);// INVIO SECONDO MESSAGGIO
				break;
			}
			case STR_MODE:
			{
				TxHeader.StdId = (ID)|THI_P;
				TxData0[0]=(int8_t)(Data[0].Pres  & 0x000000FF);
				TxData0[1]=(int8_t)((Data[0].Pres & 0x0000FF00)>>8);
				TxData0[2]=(int8_t)((Data[0].Pres & 0x00FF0000)>>16);
				TxData0[3]=(int8_t)((Data[0].Pres & 0xFF000000)>>24);
				TxData0[4]=(int8_t)(Data[0].Hum  & 0x000000FF);
				TxData0[5]=(int8_t)((Data[0].Hum & 0x0000FF00)>>8);
				TxData0[6]=0x00;
				TxData0[7]=0x00;
				HAL_CAN_AddTxMessage(&hcan,&TxHeader,TxData0,&TxMailbox);// INVIO TERZO MESSAGGIO SOLO INIZIO E FINE
				break;
			}
			default:break;
    	}
    	HAL_GPIO_WritePin(D6_GPIO_Port, D6_Pin, GPIO_PIN_RESET);
    }
}

void get_data(void){
	TIM2->CNT=0;
	//DECIDE CHE LETTURE ANDARE A FARE E PERMETTER DI LEGGERE I DATI NON ESSENZIALI SOLO ALL'INIZIO E ALLA FINE
	switch (flagStartData){
    	case STD_MODE:
    	{
    		// Get acceleration
			iis3dhhc_status_get(&dev_ctx_acc, &reg_acc.status);
			if (reg_acc.status.zyxda){
				memset(data_raw_acceleration.u8bit, 0x00, 3*sizeof(int16_t));
				iis3dhhc_acceleration_raw_get(&dev_ctx_acc, data_raw_acceleration.u8bit);
				Data[0].Acc_x=data_raw_acceleration.i16bit[0];
				Data[0].Acc_y=data_raw_acceleration.i16bit[1];
				Data[0].Acc_z=data_raw_acceleration.i16bit[2];
				//memset(data_raw_temperature.u8bit, 0x00, sizeof(int16_t));
				//iis3dhhc_temperature_raw_get(&dev_ctx_acc, data_raw_temperature.u8bit);
				//data_raw_temperature.i16bit = data_raw_temperature.i16bit >> 4;
				//Data[0].T_a=data_raw_temperature.i16bit+25*16;
			}
			// Get angular rate
			l2g2is_dev_status_get(&dev_ctx_gir, &reg_gir);
			if ( reg_gir.xyda ){
				memset(data_raw_angular_rate.u8bit, 0x00, 2 * sizeof(int16_t));
				l2g2is_angular_rate_raw_get(&dev_ctx_gir, data_raw_angular_rate.u8bit);
				Data[0].Gyr_x=data_raw_angular_rate.i16bit[0];
				Data[0].Gyr_y=data_raw_angular_rate.i16bit[1];
				//memset(data_raw_temperature.u8bit, 0x00, sizeof(int16_t));
				//l2g2is_temperature_raw_get(&dev_ctx_gir, data_raw_temperature.u8bit);
				//data_raw_temperature.i16bit = data_raw_temperature.i16bit >> 4;
				//Data[0].T_g=data_raw_temperature.i16bit+25*1/0.0625;
			}
			// Get temperature
			lps22hb_press_data_ready_get(&dev_ctx_bar, &reg_bar);
			if (reg_bar){
				memset(data_raw_temperature.u8bit, 0x00, sizeof(int16_t));
				lps22hb_temperature_raw_get(&dev_ctx_bar, data_raw_temperature.u8bit);
				Data[0].T_b=data_raw_temperature.i16bit;
			}
			break;
    	}

    	case STR_MODE:
    	{
			// Get pressure and temperature
			//dev_ctx_bar.write_reg = platform_write_bar;
			//dev_ctx_bar.read_reg = platform_read_bar;
			//dev_ctx_bar.handle = &hi2c1;

			// Read output only if new value is available
			lps22hb_press_data_ready_get(&dev_ctx_bar, &reg_bar);
			if (reg_bar){
				memset(data_raw_pressure.u8bit, 0x00, sizeof(int32_t));
				lps22hb_pressure_raw_get(&dev_ctx_bar, data_raw_pressure.u8bit);
				Data[0].Pres=data_raw_pressure.i32bit;
				//pressure_hPa = lps22hb_from_lsb_to_hpa(data_raw_pressure.i32bit);
				memset(data_raw_temperature.u8bit, 0x00, sizeof(int16_t));
				lps22hb_temperature_raw_get(&dev_ctx_bar, data_raw_temperature.u8bit);
				Data[0].T_b=data_raw_temperature.i16bit;
				//temperature_degC = lps22hb_from_lsb_to_degc(data_raw_temperature.i16bit);
			}

			// Get humidity
			hts221_status_get(&dev_ctx_hum, &reg_hum.status_reg);
			if (reg_hum.status_reg.h_da){
				// Read humidity data
				memset(data_raw_humidity.u8bit, 0x00, sizeof(int16_t));
				hts221_humidity_raw_get(&dev_ctx_hum, data_raw_humidity.u8bit);
				humidity_perc = linear_interpolation(&lin_hum, data_raw_humidity.i16bit);
				//Data[0].Hum= data_raw_humidity.i16bit;
				Data[0].Hum = humidity_perc;
				//if (humidity_perc < 0) humidity_perc = 0;
				//if (humidity_perc > 100) humidity_perc = 100;
			}
			break;
    	}
    	default:break;
	}
	Data[0].Responce_Time_millis=TIM2->CNT;
}

void CAN_Config(void){
	TxHeader.StdId=0x00;
	TxHeader.ExtId=0x00;
	TxHeader.RTR=CAN_RTR_DATA;
	TxHeader.IDE=CAN_ID_STD;
	TxHeader.DLC=8;
	TxHeader.TransmitGlobalTime=DISABLE;

	// CAN filter configuration
	sFilterConfig.FilterFIFOAssignment=CAN_FILTER_FIFO0;
	sFilterConfig.FilterIdHigh=0;
	sFilterConfig.FilterIdLow=0;
	sFilterConfig.FilterMaskIdHigh=0;
	sFilterConfig.FilterMaskIdLow=0;
	sFilterConfig.FilterScale=CAN_FILTERSCALE_32BIT;
	sFilterConfig.FilterActivation=ENABLE;
	HAL_CAN_ConfigFilter(&hcan,&sFilterConfig);
}
/* USER CODE END 4 */

void Error_Handler(void)
{
}

/************************ (C) COPYRIGHT STMicroelectronics *****END OF FILE****/
